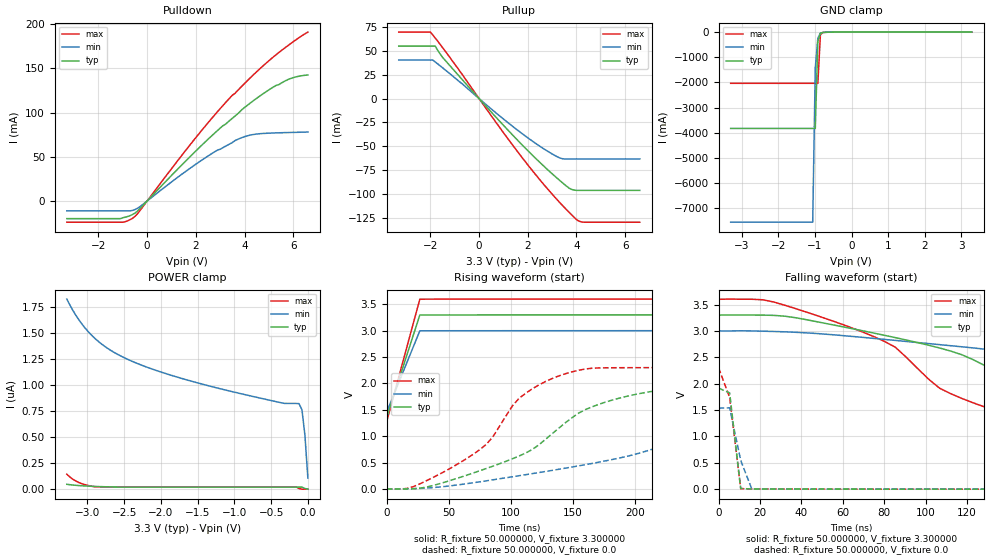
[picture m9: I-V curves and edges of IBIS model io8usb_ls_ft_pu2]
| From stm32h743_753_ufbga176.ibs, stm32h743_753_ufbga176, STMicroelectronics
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|   Model io8usb_ls_ft_pu2
[Model]  io8usb_ls_ft_pu2
Model_type I/O
Polarity   Non-Inverting
Enable   Active-Low
Vinl =   0.990000V
Vinh =   2.310000V
Vmeas =  1.650000V
Cref =   50.000000pF
Rref =   100.000000M
Vref =   0.0V
C_comp   7.942700pF   7.938600pF   8.018200pF
[Temperature Range]   25.000000   0.140000k   -40.000000
[Pullup Reference]   3.300000V   3.000000V   3.600000V
[Pulldown Reference]   0.0V   0.0V   0.0V
[POWER Clamp Reference]   3.300000V   3.000000V   3.600000V
[GND Clamp Reference]   0.0V   0.0V   0.0V
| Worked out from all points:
|   slope of the pulldown table from 0 to 0.495 V, typ, clamps not added: 34.5 ohm
|   slope of the pullup table from 0 to 0.495 V, typ, clamps not added: 35.5 ohm
|   GND clamp passes 1 mA (typ) near -0.48 V on its own axis
|   rising waveform, R_fixture 50.000000, V_fixture 3.300000: 20-80 % time 16ns typ, 16ns min, 16ns max; typ from 1.36 V to 3.3 V
|   rising waveform, R_fixture 50.000000, V_fixture 0.0: 20-80 % time 83.2ns typ, 158ns min, 57.4ns max; typ from 0 V to 1.92 V
|   falling waveform, R_fixture 50.000000, V_fixture 3.300000: 20-80 % time 82.7ns typ, 151ns min, 57.2ns max; typ from 3.3 V to 1.36 V
|   falling waveform, R_fixture 50.000000, V_fixture 0.0: 20-80 % time 3.39ns typ, 6.02ns min, 4.93ns max; typ from 1.92 V to 0 V
[Pulldown]
|Voltage   I(typ)   I(min)   I(max)
-3.3V     -20mA      -11.17mA   -24mA
-1V       -19mA      -11.17mA   -24mA
-700mV    -16.57mA   -11.16mA   -21.13mA
-500mV    -13.67mA   -9.72mA    -17.46mA
2.2V      61.91mA    45.35mA    78.45mA
2.9V      79.93mA    57.71mA    101.3mA
3.2V      86.43mA    61.63mA    110.6mA
3.7V      98.16mA    69.44mA    124.4mA
4.3V      112mA      74.85mA    141mA
5.3V      130.7mA    76.97mA    165.5mA
6V        139.4mA    77.51mA    180mA
6.6V      142.5mA    77.96mA    190.9mA
[Pullup]
-3.3V     54.9mA     40.31mA    69.6mA
-2V       54.9mA     40.31mA    69.6mA
-1.8V     54.88mA    38.29mA    63.34mA
-1.5V     43.15mA    32.26mA    53.32mA
0V        1.307nA    -22.34nA   4.127nA
1.3V      -36.06mA   -27.49mA   -46.01mA
2.4V      -64.42mA   -48.22mA   -81.99mA
3.3V      -85.4mA    -61.96mA   -108.4mA
3.7V      -93.74mA   -63.15mA   -119.1mA
4V        -96.04mA   -63.15mA   -126.6mA
4.3V      -96.05mA   -63.15mA   -129.3mA
6.6V      -96.05mA   -63.15mA   -129.3mA
[GND_clamp]
|Voltage   I(typ)   I(min)   I(max)
-3.3V     -3.828A    -7.552A    -2.036A
-1.06V    -3.828A    -7.552A    -2.036A
-990mV    -3.828A    -1.425A    -2.036A
-920mV    -368.6mA   -243.1mA   -2.036A
-850mV    -40.93mA   -46.27mA   -98.44mA
-780mV    -13.14mA   -14.53mA   -15.81mA
-500mV    -1.208mA   -1.769mA   -1.059mA
3.28V     0A         -16.27nA   0A
[POWER_clamp]
|Voltage   I(typ)   I(min)   I(max)
-3.28V    46.7nA     1.827uA    143.8nA
-3.12V    34.88nA    1.631uA    65.26nA
-2.92V    26.91nA    1.463uA    25.4nA
-2.72V    22.4nA     1.351uA    21.72nA
-2.44V    19.67nA    1.244uA    21.72nA
-1.96V    19.67nA    1.117uA    21.72nA
-1.32V    19.67nA    987.7nA    21.72nA
-360mV    19.67nA    829.8nA    21.72nA
-120mV    19.67nA    821.7nA    6.261nA
-80mV     19.67nA    761.5nA    0A
-40mV     6.698nA    517.9nA    0A
0V        0A         105.7nA    0A
[Ramp]
| variable   typ   min   max
dV/dt_r  1.14954/83.10131n   0.92219/0.15786u   1.38012/57.22771n
dV/dt_f  1.16640/82.58002n   0.92616/0.15116u   1.39320/57.13928n
R_load = 50.000000
[Rising Waveform]
R_fixture= 50.000000
V_fixture= 3.300000
V_fixture_min= 3.000000
V_fixture_max= 3.600000
|time   V(typ)   V(min)   V(max)
0s        1.356V     1.456V     1.278V
26.69ns   3.298V     2.998V     3.598V
106.8ns   3.3V       3V         3.6V
2.643us   3.3V       3V         3.6V
[Rising Waveform]
R_fixture= 50.000000
V_fixture= 0.0
V_fixture_min= 0.0
V_fixture_max= 0.0
|time   V(typ)   V(min)   V(max)
0s        404.9nV    10.44uV    581.2nV
21.35ns   2.308mV    3.331mV    41.53mV
69.4ns    299.3mV    114.9mV    652.2mV
101.4ns   572.6mV    230.1mV    1.579V
133.5ns   1.05V      351.3mV    2.095V
170.8ns   1.603V     506.5mV    2.294V
224.2ns   1.884V     833.4mV    2.3V
282.9ns   1.914V     1.243V     2.3V
400.4ns   1.916V     1.523V     2.3V
2.659us   1.916V     1.537V     2.3V
[Falling Waveform]
R_fixture= 50.000000
V_fixture= 3.300000
V_fixture_min= 3.000000
V_fixture_max= 3.600000
|time   V(typ)   V(min)   V(max)
0s        3.3V       3V         3.6V
26.69ns   3.295V     2.99V      3.548V
64.06ns   3.047V     2.898V     3.063V
85.42ns   2.873V     2.82V      2.691V
101.4ns   2.73V      2.761V     2.088V
133.5ns   2.243V     2.635V     1.497V
170.8ns   1.676V     2.473V     1.282V
282.9ns   1.357V     1.709V     1.278V
400.4ns   1.356V     1.465V     1.278V
2.659us   1.356V     1.456V     1.278V
[Falling Waveform]
R_fixture= 50.000000
V_fixture= 0.0
V_fixture_min= 0.0
V_fixture_max= 0.0
|time   V(typ)   V(min)   V(max)
0s        1.916V     1.537V     2.3V
5.339ns   1.825V     1.542V     1.736V
10.68ns   13.74mV    546mV      8.815mV
16.02ns   2.854mV    4.348mV    4.879mV
21.35ns   2.349mV    2.276mV    3.893mV
2.659us   404.9nV    10.44uV    581.2nV
